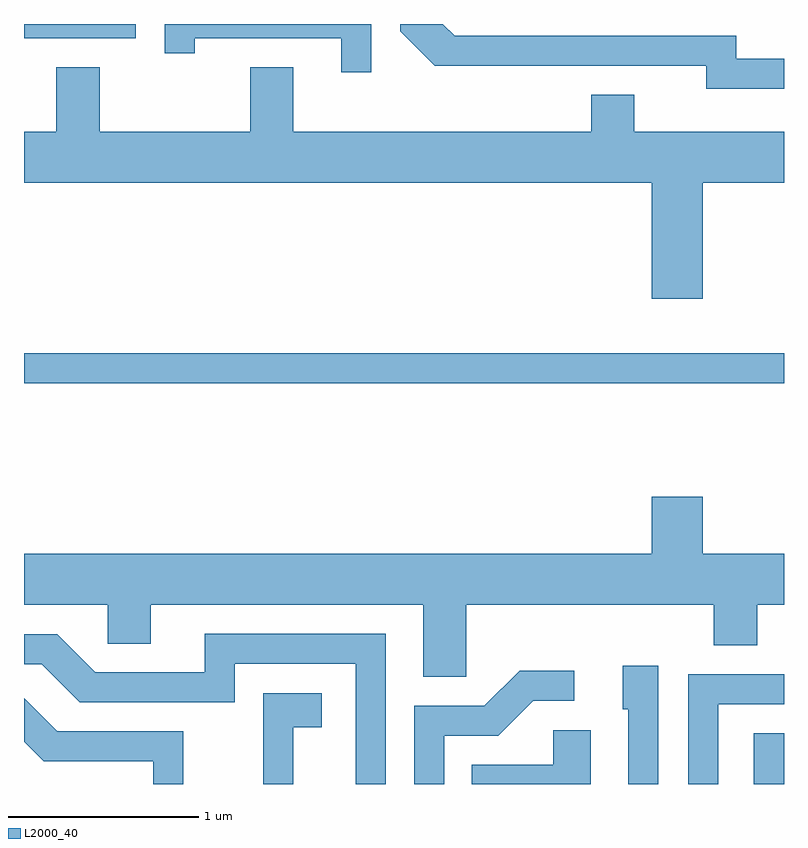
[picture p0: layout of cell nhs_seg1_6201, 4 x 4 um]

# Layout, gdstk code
import gdstk
lib = gdstk.Library(unit=1e-6, precision=1e-09)
def R(c, l, rs):  # rectangles x0, y0, x1, y1
    for r in rs: c.add(gdstk.rectangle(r[:2], r[2:], *l))
def P(c, l, *ps):  # polygons
    for p in ps: c.add(gdstk.Polygon(p, *l))
L2000_40 = (2000, 40)

nhs_seg1_6201 = lib.new_cell('nhs_seg1_6201')
R(nhs_seg1_6201, L2000_40, [(375.451,929.712,375.611,929.979), (371.611,931.821,375.611,931.979), (371.611,933.636,372.199,933.712)])
P(nhs_seg1_6201, L2000_40, [(375.611,933.529),(375.359,933.529),(375.359,933.649),(373.877,933.649),(373.814,933.712),(373.591,933.712),(373.591,933.674),(373.774,933.491),(375.201,933.491),(375.201,933.371),(375.611,933.371)],
  [(373.439,933.712),(372.351,933.712),(372.351,933.558),(372.509,933.558),(372.509,933.636),(373.281,933.636),(373.281,933.458),(373.439,933.458)],
  [(375.184,932.876),(375.611,932.876),(375.611,933.144),(374.824,933.144),(374.824,933.339),(374.596,933.339),(374.596,933.144),(373.029,933.144),(373.029,933.484),(372.801,933.484),(372.801,933.144),(372.009,933.144),(372.009,933.484),(371.781,933.484),(371.781,933.144),(371.611,933.144),(371.611,932.876),(374.916,932.876),(374.916,932.266),(375.184,932.266)],
  [(373.939,930.656),(375.241,930.656),(375.241,930.441),(375.469,930.441),(375.469,930.656),(375.611,930.656),(375.611,930.924),(375.184,930.924),(375.184,931.224),(374.916,931.224),(374.916,930.924),(371.611,930.924),(371.611,930.656),(372.051,930.656),(372.051,930.451),(372.279,930.451),(372.279,930.656),(373.711,930.656),(373.711,930.276),(373.939,930.276)],
  [(373.514,930.504),(372.561,930.504),(372.561,930.299),(371.987,930.299),(371.787,930.499),(371.611,930.499),(371.611,930.341),(371.704,930.341),(371.904,930.141),(372.719,930.141),(372.719,930.346),(373.356,930.346),(373.356,929.712),(373.514,929.712)],
  [(374.949,930.334),(374.761,930.334),(374.761,930.106),(374.791,930.106),(374.791,929.712),(374.949,929.712)],
  [(373.824,929.966),(374.107,929.966),(374.292,930.151),(374.508,930.151),(374.508,930.309),(374.219,930.309),(374.034,930.124),(373.666,930.124),(373.666,929.712),(373.824,929.712)],
  [(375.264,930.131),(375.611,930.131),(375.611,930.289),(375.106,930.289),(375.106,929.712),(375.264,929.712)],
  [(373.029,930.011),(373.179,930.011),(373.179,930.189),(372.871,930.189),(372.871,929.712),(373.029,929.712)],
  [(372.449,929.989),(371.787,929.989),(371.612,930.164),(371.611,930.164),(371.611,929.934),(371.714,929.831),(372.291,929.831),(372.291,929.712),(372.449,929.712)],
  [(374.594,929.994),(374.396,929.994),(374.396,929.814),(373.968,929.814),(373.968,929.712),(374.594,929.712)])

lib.write_gds('nhs_seg1_6201.gds')
